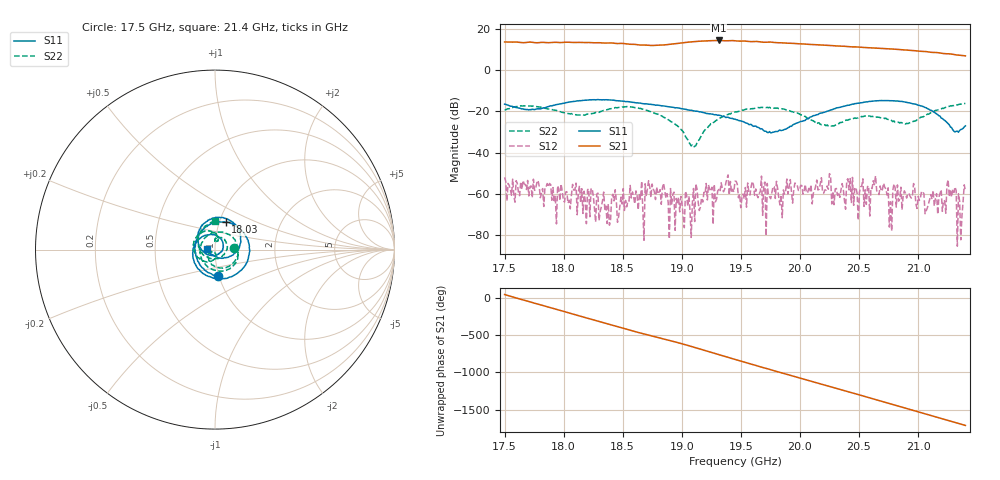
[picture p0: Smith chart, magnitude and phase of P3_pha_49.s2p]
!Created with skrf (http://scikit-rf.org).
# GHz S RI R 50.0
!freq ReS11 ImS11 ReS21 ImS21 ReS12 ImS12 ReS22 ImS22
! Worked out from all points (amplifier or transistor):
!   401 points, 17.5 GHz to 21.4 GHz, reference 50 ohm
!   highest |S21| = 14.4 dB at 19.31 GHz (marker M1)
!   |S21| within 3 dB of that: start of sweep to 20.41 GHz
!   unconditionally stable (mu >= 1): start of sweep to end of sweep
!   at 18.14 GHz: K = 166.15, MAG = 13.6 dB, |S12| = -64.2 dB
!   at 19.45 GHz: K = 46.55, MAG = 14.3 dB, |S12| = -53.7 dB
!   at 21.4 GHz: K = 182.24, MAG = 7.0 dB, |S12| = -58.4 dB
!   S11 on the Smith chart (normalised r, x): 17.5 GHz: 0.99, -0.30; 18.03 GHz: 1.07, +0.34; 21.4 GHz: 0.91, +0.01
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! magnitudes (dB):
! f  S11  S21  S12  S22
! 17.5 GHz  -16.5  13.7  -51.9  -19.4
! 18.03 GHz  -15.7  13.6  -58.8  -20.7
! 18.15 GHz  -14.8  13.4  -57.4  -21.6
! 18.38 GHz  -14.4  13.2  -64.7  -19.0
! 18.43 GHz  -14.6  13.0  -63.3  -18.3
! 18.48 GHz  -14.9  12.9  -66.1  -18.0
! 18.81 GHz  -17.0  12.2  -59.1  -21.6
! 19.1 GHz  -19.7  13.8  -57.3  -37.3
! 19.31 GHz  -21.8  14.4  -57.8  -23.5
! 19.45 GHz  -23.7  14.2  -53.7  -20.3
! 19.74 GHz  -29.7  13.6  -61.3  -18.0
! 20.1 GHz  -22.4  12.4  -64.8  -24.3
! 20.43 GHz  -16.8  11.3  -52.5  -23.8
! 20.47 GHz  -16.2  11.3  -56.9  -23.3
! 20.62 GHz  -14.9  10.8  -53.5  -22.5
! 20.73 GHz  -14.7  10.4  -57.5  -23.3
! 20.76 GHz  -14.8  10.3  -76.0  -24.1
! 20.81 GHz  -14.9  10.1  -56.9  -25.3
! 21.08 GHz  -18.6  8.9  -66.6  -21.3
! 21.26 GHz  -26.5  7.9  -61.3  -17.5
! 21.35 GHz  -29.2  7.2  -63.5  -16.5
! 21.4 GHz  -27.0  6.9  -58.4  -16.1
